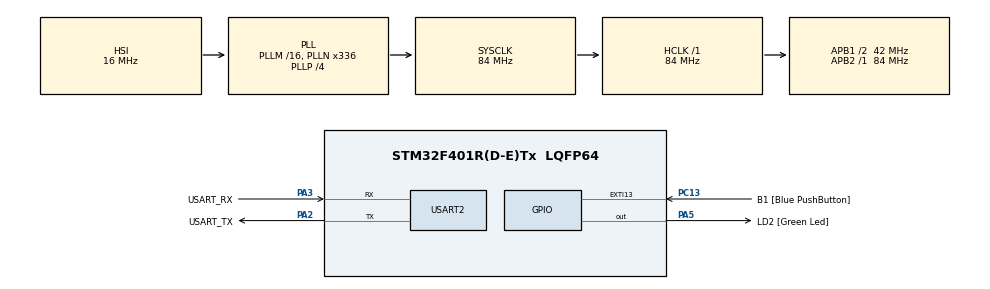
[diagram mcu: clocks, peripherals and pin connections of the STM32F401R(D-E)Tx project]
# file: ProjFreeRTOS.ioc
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Mcu.Family=STM32F4
Mcu.Name=STM32F401R(D-E)Tx
Mcu.Package=LQFP64
NVIC.PriorityGroup=NVIC_PRIORITYGROUP_4
NVIC.TIM2_IRQn=true\:0\:0\:false\:false\:true\:false\:true
NVIC.TimeBase=TIM2_IRQn
NVIC.TimeBaseIP=TIM2
PA13.GPIO_Label=TMS
PA13.Mode=Serial_Wire
PA13.Signal=SYS_JTMS-SWDIO
PA14.GPIO_Label=TCK
PA14.Mode=Serial_Wire
PA14.Signal=SYS_JTCK-SWCLK
PA2.GPIO_Label=USART_TX
PA2.GPIO_Mode=GPIO_MODE_AF_PP
PA2.GPIO_PuPd=GPIO_NOPULL
PA2.GPIO_Speed=GPIO_SPEED_FREQ_LOW
PA2.Mode=Asynchronous
PA2.Signal=USART2_TX
PA3.GPIO_Label=USART_RX
PA3.GPIO_Mode=GPIO_MODE_AF_PP
PA3.GPIO_PuPd=GPIO_NOPULL
PA3.GPIO_Speed=GPIO_SPEED_FREQ_LOW
PA3.Mode=Asynchronous
PA3.Signal=USART2_RX
PA5.GPIO_Label=LD2 [Green Led]
PA5.GPIO_Mode=GPIO_MODE_OUTPUT_PP
PA5.GPIO_PuPd=GPIO_NOPULL
PA5.GPIO_Speed=GPIO_SPEED_FREQ_LOW
PA5.Signal=GPIO_Output
PB3.GPIO_Label=SWO
PB3.Signal=SYS_JTDO-SWO
PC13-ANTI_TAMP.GPIO_Label=B1 [Blue PushButton]
PC13-ANTI_TAMP.GPIO_ModeDefaultEXTI=GPIO_MODE_IT_FALLING
PC13-ANTI_TAMP.GPIO_PuPd=GPIO_NOPULL
PC13-ANTI_TAMP.Signal=GPXTI13
PC14-OSC32_IN.Mode=LSE-External-Oscillator
PC14-OSC32_IN.Signal=RCC_OSC32_IN
PC15-OSC32_OUT.Mode=LSE-External-Oscillator
PC15-OSC32_OUT.Signal=RCC_OSC32_OUT
PH0\ -\ OSC_IN.Mode=HSE-External-Clock-Source
PH0\ -\ OSC_IN.Signal=RCC_OSC_IN
PH1\ -\ OSC_OUT.Mode=HSE-External-Clock-Source
PH1\ -\ OSC_OUT.Signal=RCC_OSC_OUT
ProjectManager.HeapSize=0x200
ProjectManager.StackSize=0x400
ProjectManager.TargetToolchain=Makefile
RCC.48MHZClocksFreq_Value=48000000
RCC.AHBFreq_Value=84000000
RCC.APB1CLKDivider=RCC_HCLK_DIV2
RCC.APB1Freq_Value=42000000
RCC.APB1TimFreq_Value=84000000
RCC.APB2Freq_Value=84000000
RCC.APB2TimFreq_Value=84000000
RCC.CortexFreq_Value=84000000
RCC.HCLKFreq_Value=84000000
RCC.HSE_VALUE=8000000
RCC.HSI_VALUE=16000000
RCC.PLLN=336
RCC.PLLP=RCC_PLLP_DIV4
RCC.PLLQ=7
RCC.SYSCLKFreq_VALUE=84000000
RCC.SYSCLKSource=RCC_SYSCLKSOURCE_PLLCLK
RCC.VCOOutputFreq_Value=336000000
USART2.VirtualMode=VM_ASYNC
VP_SYS_VS_tim2.Mode=TIM2
board=NUCLEO-F401RE

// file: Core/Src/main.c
/* USER CODE BEGIN Header */
/**
  ******************************************************************************
  * @file           : main.c
  * @brief          : Main program body
  ******************************************************************************
  * @attention
  *
  * <h2><center>&copy; Copyright (c) 2024 STMicroelectronics.
  * All rights reserved.</center></h2>
  *
  * This software component is licensed by ST under BSD 3-Clause license,
  * the "License"; You may not use this file except in compliance with the
  * License. You may obtain a copy of the License at:
  *                        opensource.org/licenses/BSD-3-Clause
  *
  ******************************************************************************
  */
/* USER CODE END Header */
#include "main.h"
#include "usart.h"
#include "gpio.h"

/* USER CODE BEGIN Includes */
#include "FreeRTOS.h"
#include "task.h"
#include <string.h>
/* USER CODE END Includes */

void SystemClock_Config(void);
/* USER CODE BEGIN PFP */
void vApplicationStackOverflowHook( TaskHandle_t xTask, char *pcTaskName )
{
  char* uart_mes = " Stack Over Flow!\r\n";
  HAL_UART_Transmit(&huart2, (uint8_t*)uart_mes, strlen(uart_mes), 1000);
}

void LEDBlink(void* pvParameters)
{
  while (1)
  {
    HAL_GPIO_TogglePin(LD2_GPIO_Port, LD2_Pin);
    char* uart_mes = "LED Blink!\r\n";
    HAL_UART_Transmit(&huart2, (uint8_t*)uart_mes, strlen(uart_mes), 1000);
    vTaskDelay(1000);
  }
}

void B1Pushed(void* pvParameters)
{
  while (1)
  {
    GPIO_PinState state =  HAL_GPIO_ReadPin(B1_GPIO_Port, B1_Pin);
    if (state == GPIO_PIN_RESET) {
      char* uart_mes = "B1 Pushed!\r\n";
      HAL_UART_Transmit(&huart2, (uint8_t*)uart_mes, strlen(uart_mes), 1000);
    }
    vTaskDelay(50);
  }
}
/* USER CODE END PFP */

int main(void)
{

  /* MCU Configuration--------------------------------------------------------*/

  /* Reset of all peripherals, Initializes the Flash interface and the Systick. */
  HAL_Init();

  /* Configure the system clock */
  SystemClock_Config();

  /* Initialize all configured peripherals */
  MX_GPIO_Init();
  MX_USART2_UART_Init();
  /* USER CODE BEGIN 2 */
  xTaskCreate(LEDBlink, "LEDBlink", configMINIMAL_STACK_SIZE*2, NULL, 3, NULL);
  xTaskCreate(B1Pushed, "B1Pushed", configMINIMAL_STACK_SIZE*2, NULL, 3, NULL);
  vTaskStartScheduler();
  /* USER CODE END 2 */

  /* Infinite loop */
  while (1)
  {

  }
}

void SystemClock_Config(void)
{
  RCC_OscInitTypeDef RCC_OscInitStruct = {0};
  RCC_ClkInitTypeDef RCC_ClkInitStruct = {0};

  /** Configure the main internal regulator output voltage
  */
  __HAL_RCC_PWR_CLK_ENABLE();
  __HAL_PWR_VOLTAGESCALING_CONFIG(PWR_REGULATOR_VOLTAGE_SCALE2);
  /** Initializes the RCC Oscillators according to the specified parameters
  * in the RCC_OscInitTypeDef structure.
  */
  RCC_OscInitStruct.OscillatorType = RCC_OSCILLATORTYPE_HSI;
  RCC_OscInitStruct.HSIState = RCC_HSI_ON;
  RCC_OscInitStruct.HSICalibrationValue = RCC_HSICALIBRATION_DEFAULT;
  RCC_OscInitStruct.PLL.PLLState = RCC_PLL_ON;
  RCC_OscInitStruct.PLL.PLLSource = RCC_PLLSOURCE_HSI;
  RCC_OscInitStruct.PLL.PLLM = 16;
  RCC_OscInitStruct.PLL.PLLN = 336;
  RCC_OscInitStruct.PLL.PLLP = RCC_PLLP_DIV4;
  RCC_OscInitStruct.PLL.PLLQ = 7;
  if (HAL_RCC_OscConfig(&RCC_OscInitStruct) != HAL_OK)
  {
    Error_Handler();
  }
  /** Initializes the CPU, AHB and APB buses clocks
  */
  RCC_ClkInitStruct.ClockType = RCC_CLOCKTYPE_HCLK|RCC_CLOCKTYPE_SYSCLK
                              |RCC_CLOCKTYPE_PCLK1|RCC_CLOCKTYPE_PCLK2;
  RCC_ClkInitStruct.SYSCLKSource = RCC_SYSCLKSOURCE_PLLCLK;
  RCC_ClkInitStruct.AHBCLKDivider = RCC_SYSCLK_DIV1;
  RCC_ClkInitStruct.APB1CLKDivider = RCC_HCLK_DIV2;
  RCC_ClkInitStruct.APB2CLKDivider = RCC_HCLK_DIV1;

  if (HAL_RCC_ClockConfig(&RCC_ClkInitStruct, FLASH_LATENCY_2) != HAL_OK)
  {
    Error_Handler();
  }
}

void HAL_TIM_PeriodElapsedCallback(TIM_HandleTypeDef *htim)
{
  if (htim->Instance == TIM2) {
    HAL_IncTick();
  }
}

void Error_Handler(void)
{
  __disable_irq();
  while (1)
  {
  }
}

/************************ (C) COPYRIGHT STMicroelectronics *****END OF FILE****/
